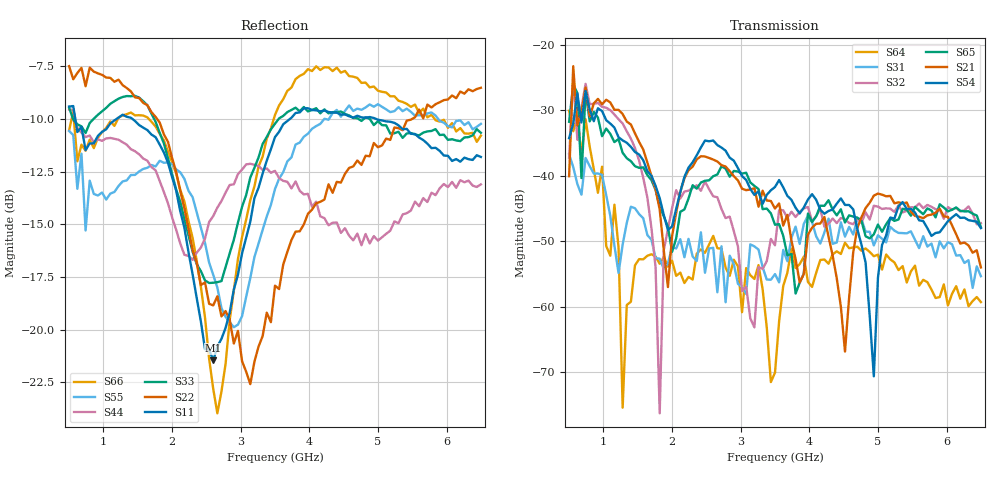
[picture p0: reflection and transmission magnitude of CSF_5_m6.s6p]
!Keysight Technologies,M9804A,MY58100912,A.14.10.03
!Date: Thursday, April 27, 2023 10:28:33
!Correction: S11(C  6-Port  )
!S12(C  6-Port  )
!S13(C  6-Port  )
!S14(C  6-Port  )
!S15(C  6-Port  )
!S16(C  6-Port  )
!S21(C  6-Port  )
!S22(C  6-Port  )
!S23(C  6-Port  )
!S24(C  6-Port  )
!S25(C  6-Port  )
!S26(C  6-Port  )
!S31(C  6-Port  )
!S32(C  6-Port  )
!S33(C  6-Port  )
!S34(C  6-Port  )
!S35(C  6-Port  )
!S36(C  6-Port  )
!S41(C  6-Port  )
!S42(C  6-Port  )
!S43(C  6-Port  )
!S44(C  6-Port  )
!S45(C  6-Port  )
!S46(C  6-Port  )
!S51(C  6-Port  )
!S52(C  6-Port  )
!S53(C  6-Port  )
!S54(C  6-Port  )
!S55(C  6-Port  )
!S56(C  6-Port  )
!S61(C  6-Port  )
!S62(C  6-Port  )
!S63(C  6-Port  )
!S64(C  6-Port  )
!S65(C  6-Port  )
!S66(C  6-Port  )
!S6P File: Measurement: :
# Hz S  RI  R 50
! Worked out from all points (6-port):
!   101 points, 500 MHz to 6.5 GHz, reference 50 ohm
!   strongest paths, dB at 500 MHz, 2 GHz, 3.5 GHz, 5 GHz, 6.5 GHz:
!     S54: -34.3, -47.7, -41.7, -55.6, -48.0
!     S21: -40.1, -49.2, -45.0, -42.7, -54.0
!     S65: -31.8, -51.6, -47.5, -47.5, -47.9
!     S32: -37.2, -45.0, -50.6, -44.7, -47.2
!     S31: -36.7, -50.9, -55.0, -49.1, -55.3
!     S64: -30.1, -53.0, -70.0, -52.0, -59.3
!   lowest |S11| = -21.5 dB at 2.6 GHz (marker M1), VSWR 1.18, Z = 42.5 + j2.2 ohm
!   |S11| at or under -10 dB: 589.8 MHz to 1.19 GHz (600.6 MHz wide, 67.5 % of centre); 1.423 GHz to 3.717 GHz (2.295 GHz wide, 89.3 % of centre); 4.974 GHz to end of sweep
